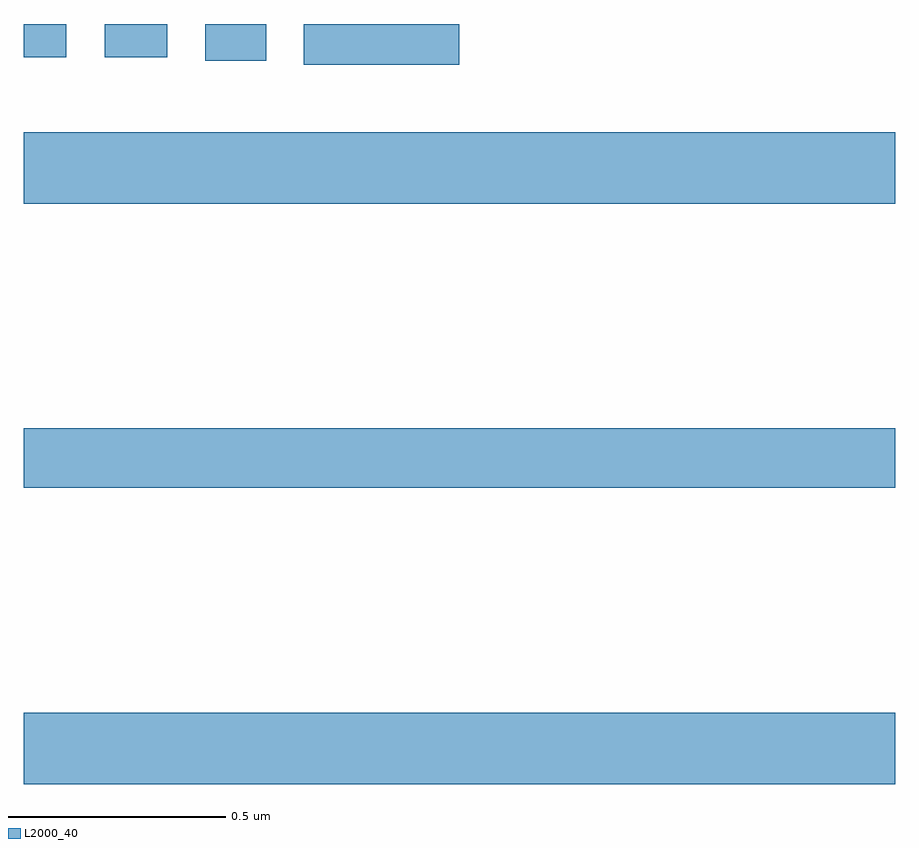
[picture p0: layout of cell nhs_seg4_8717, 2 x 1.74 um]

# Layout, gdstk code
import gdstk
lib = gdstk.Library(unit=1e-6, precision=1e-09)
def R(c, l, rs):  # rectangles x0, y0, x1, y1
    for r in rs: c.add(gdstk.rectangle(r[:2], r[2:], *l))
L2000_40 = (2000, 40)

nhs_seg4_8717 = lib.new_cell('nhs_seg4_8717')
R(nhs_seg4_8717, L2000_40, [(218,794.156,220,794.32), (218,794.836,220,794.972), (218,795.488,220,795.652), (218.643,795.806,218.999,795.9), (218.417,795.816,218.557,795.9), (218,795.824,218.098,795.9), (218.186,795.824,218.329,795.9)])

lib.write_gds('nhs_seg4_8717.gds')
